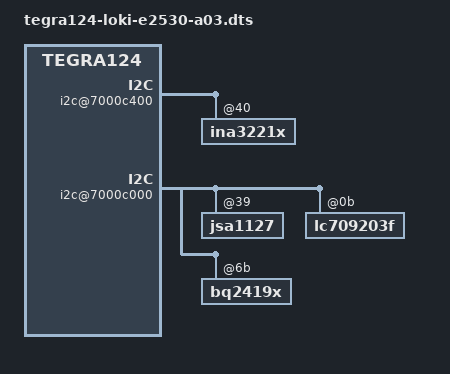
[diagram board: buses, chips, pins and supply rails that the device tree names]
#include "tegra124-loki.dts"
#include "tegra124-platforms/tegra124-loki-powermon-p2530-a01.dtsi"

/ {
	i2c@7000c400 {
		ina3221x@40 {
			channel@0 {
				ti,shunt-resistor-mohm = <5>;
			};
		};
	};

	i2c@7000c000 {
		jsa1127@39 {
			solteam-opto,rint = <800>;
			solteam-opto,integration-time = <1000>;
			solteam-opto,noisy = <0>;
		};

		lc709203f@0b {
			onsemi,alert-low-rsoc = <2>;
		};

		bq2419x: bq2419x@6b {
			charger {
				ti,charge-status-gpio = <&gpio TEGRA_GPIO(H, 7) 0>;
			};
		};
	};
};
